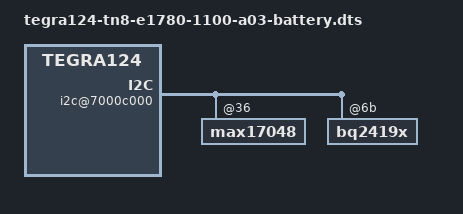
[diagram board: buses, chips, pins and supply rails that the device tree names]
#include "tegra124-tn8-e1780-1100-a03.dts"
#include "tegra124-platforms/tegra124-tn8-sysedp-e1780-1100-a02.dtsi"

/ {
	i2c@7000c000 {
		max17048@36 {
			status = "okay";
		};

		bq2419x@6b {
			charger {
				status = "okay";
			};
		};
	};
};

